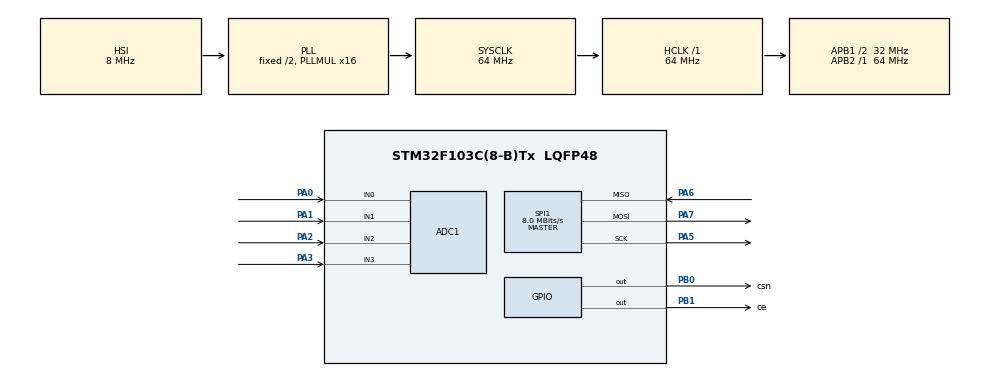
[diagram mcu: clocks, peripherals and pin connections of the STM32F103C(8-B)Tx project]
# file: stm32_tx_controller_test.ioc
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ADC1.Channel-0\#ChannelRegularConversion=ADC_CHANNEL_0
ADC1.Channel-1\#ChannelRegularConversion=ADC_CHANNEL_1
ADC1.Channel-2\#ChannelRegularConversion=ADC_CHANNEL_2
ADC1.Channel-3\#ChannelRegularConversion=ADC_CHANNEL_3
ADC1.ContinuousConvMode=ENABLE
ADC1.NbrOfConversion=4
ADC1.NbrOfConversionFlag=1
ADC1.Rank-0\#ChannelRegularConversion=1
ADC1.Rank-1\#ChannelRegularConversion=2
ADC1.Rank-2\#ChannelRegularConversion=3
ADC1.Rank-3\#ChannelRegularConversion=4
ADC1.SamplingTime-0\#ChannelRegularConversion=ADC_SAMPLETIME_55CYCLES_5
ADC1.SamplingTime-1\#ChannelRegularConversion=ADC_SAMPLETIME_55CYCLES_5
ADC1.SamplingTime-2\#ChannelRegularConversion=ADC_SAMPLETIME_55CYCLES_5
ADC1.SamplingTime-3\#ChannelRegularConversion=ADC_SAMPLETIME_55CYCLES_5
ADC1.master=1
Dma.ADC1.0.Direction=DMA_PERIPH_TO_MEMORY
Dma.ADC1.0.Instance=DMA1_Channel1
Dma.ADC1.0.MemDataAlignment=DMA_MDATAALIGN_HALFWORD
Dma.ADC1.0.MemInc=DMA_MINC_ENABLE
Dma.ADC1.0.Mode=DMA_CIRCULAR
Dma.ADC1.0.PeriphDataAlignment=DMA_PDATAALIGN_HALFWORD
Dma.ADC1.0.PeriphInc=DMA_PINC_DISABLE
Dma.ADC1.0.Priority=DMA_PRIORITY_LOW
Dma.Request0=ADC1
Mcu.Family=STM32F1
Mcu.Name=STM32F103C(8-B)Tx
Mcu.Package=LQFP48
NVIC.DMA1_Channel1_IRQn=true\:0\:0\:false\:false\:true\:false\:true\:true
NVIC.PriorityGroup=NVIC_PRIORITYGROUP_4
PA0-WKUP.Signal=ADCx_IN0
PA1.Signal=ADCx_IN1
PA13.Mode=Serial_Wire
PA13.Signal=SYS_JTMS-SWDIO
PA14.Mode=Serial_Wire
PA14.Signal=SYS_JTCK-SWCLK
PA2.Signal=ADCx_IN2
PA3.Signal=ADCx_IN3
PA5.Mode=Full_Duplex_Master
PA5.Signal=SPI1_SCK
PA6.Mode=Full_Duplex_Master
PA6.Signal=SPI1_MISO
PA7.Mode=Full_Duplex_Master
PA7.Signal=SPI1_MOSI
PB0.GPIO_Label=csn
PB0.GPIO_Speed=GPIO_SPEED_FREQ_HIGH
PB0.Signal=GPIO_Output
PB1.GPIO_Label=ce
PB1.GPIO_Speed=GPIO_SPEED_FREQ_HIGH
PB1.Signal=GPIO_Output
ProjectManager.HeapSize=0x200
ProjectManager.StackSize=0x400
ProjectManager.TargetToolchain=MDK-ARM V5.32
RCC.ADCPresc=RCC_ADCPCLK2_DIV6
RCC.AHBFreq_Value=64000000
RCC.APB1CLKDivider=RCC_HCLK_DIV2
RCC.APB1Freq_Value=32000000
RCC.APB1TimFreq_Value=64000000
RCC.APB2Freq_Value=64000000
RCC.APB2TimFreq_Value=64000000
RCC.HCLKFreq_Value=64000000
RCC.PLLMUL=RCC_PLL_MUL16
RCC.SYSCLKFreq_VALUE=64000000
RCC.SYSCLKSource=RCC_SYSCLKSOURCE_PLLCLK
RCC.USBFreq_Value=64000000
SH.ADCx_IN0.0=ADC1_IN0,IN0
SH.ADCx_IN1.0=ADC1_IN1,IN1
SH.ADCx_IN2.0=ADC1_IN2,IN2
SH.ADCx_IN3.0=ADC1_IN3,IN3
SPI1.BaudRatePrescaler=SPI_BAUDRATEPRESCALER_8
SPI1.CalculateBaudRate=8.0 MBits/s
SPI1.Direction=SPI_DIRECTION_2LINES
SPI1.Mode=SPI_MODE_MASTER
SPI1.VirtualType=VM_MASTER
TIM1.Channel-PWM\ Generation1\ No\ Output=TIM_CHANNEL_1
TIM1.Channel-PWM\ Generation2\ No\ Output=TIM_CHANNEL_2
TIM1.Channel-PWM\ Generation3\ No\ Output=TIM_CHANNEL_3
TIM1.Channel-PWM\ Generation4\ No\ Output=TIM_CHANNEL_4
TIM1.Prescaler=63
VP_TIM1_VS_ClockSourceINT.Mode=Internal
VP_TIM1_VS_no_output1.Mode=PWM Generation1 No Output
VP_TIM1_VS_no_output2.Mode=PWM Generation2 No Output
VP_TIM1_VS_no_output3.Mode=PWM Generation3 No Output
VP_TIM1_VS_no_output4.Mode=PWM Generation4 No Output
board=custom

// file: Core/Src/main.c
/* USER CODE BEGIN Header */
/**
  ******************************************************************************
  * @file           : main.c
  * @brief          : Main program body
  ******************************************************************************
  * @attention
  *
  * Copyright (c) 2025 STMicroelectronics.
  * All rights reserved.
  *
  * This software is licensed under terms that can be found in the LICENSE file
  * in the root directory of this software component.
  * If no LICENSE file comes with this software, it is provided AS-IS.
  *
  ******************************************************************************
  */
/* USER CODE END Header */
#include "main.h"

/* USER CODE BEGIN Includes */
#include "NRF24.h"
#include "NRF24_conf.h"
#include "NRF24_reg_addresses.h"
/* USER CODE END Includes */

ADC_HandleTypeDef hadc1;
DMA_HandleTypeDef hdma_adc1;

SPI_HandleTypeDef hspi1;

TIM_HandleTypeDef htim1;

void SystemClock_Config(void);
static void MX_GPIO_Init(void);
static void MX_DMA_Init(void);
static void MX_ADC1_Init(void);
static void MX_SPI1_Init(void);
static void MX_TIM1_Init(void);

/* USER CODE BEGIN 0 */
#define PLD_S 32

uint8_t tx_addr[5] = {0x45, 0x55, 0x67, 0x10, 0x21};

uint16_t data = 0;

uint8_t dataT[PLD_S];

struct Signal {
  uint16_t adc_buffer[4];
	uint16_t servo_aux_x;
	uint16_t servo_aux_y;
};
struct Signal adc;

void adc_dma_init(){
	HAL_ADC_Start_DMA(&hadc1,(uint32_t *)adc.adc_buffer,4);
}

void pwm_init(){
	HAL_TIM_PWM_Start(&htim1,TIM_CHANNEL_1);
	HAL_TIM_PWM_Start(&htim1,TIM_CHANNEL_2);
	HAL_TIM_PWM_Start(&htim1,TIM_CHANNEL_3);
	HAL_TIM_PWM_Start(&htim1,TIM_CHANNEL_4);
}

void esc_bldc_write(uint16_t pwm_val[4]){
	uint16_t pwm[4];
	for(int i=0;i<4;i++){
		pwm[i]=(pwm_val[i]*1000)/4096+1000;
	}
	__HAL_TIM_SetCompare(&htim1,TIM_CHANNEL_1,pwm[0]);
	__HAL_TIM_SetCompare(&htim1,TIM_CHANNEL_2,pwm[1]);
	__HAL_TIM_SetCompare(&htim1,TIM_CHANNEL_3,pwm[2]);
	__HAL_TIM_SetCompare(&htim1,TIM_CHANNEL_4,pwm[3]);
}

void nrf24_setup(){
	csn_high();

	HAL_Delay(5);

	ce_low();

	nrf24_init();

	nrf24_stop_listen();

	nrf24_auto_ack_all(auto_ack);
	nrf24_en_ack_pld(disable);
	nrf24_en_dyn_ack(disable);
	nrf24_dpl(disable);

	nrf24_set_crc(en_crc, _1byte);

	nrf24_tx_pwr(_0dbm);
	nrf24_data_rate(_2mbps);
	nrf24_set_channel(74);
	nrf24_set_addr_width(5);

	nrf24_set_rx_dpl(0, disable);
	nrf24_set_rx_dpl(1, disable);
	nrf24_set_rx_dpl(2, disable);
	nrf24_set_rx_dpl(3, disable);
	nrf24_set_rx_dpl(4, disable);
	nrf24_set_rx_dpl(5, disable);

	nrf24_pipe_pld_size(0, PLD_S);

	nrf24_auto_retr_delay(0);
	nrf24_auto_retr_limit(15);

	uint8_t addr[5] = { 0x53, 0x13, 0x01, 0x75, 0x82 };
	nrf24_open_tx_pipe(addr);
	nrf24_open_rx_pipe(0, addr);

	ce_high();
}
/* USER CODE END 0 */

int main(void)
{

  /* MCU Configuration--------------------------------------------------------*/

  /* Reset of all peripherals, Initializes the Flash interface and the Systick. */
  HAL_Init();

  /* Configure the system clock */
  SystemClock_Config();

  /* Initialize all configured peripherals */
  MX_GPIO_Init();
  MX_DMA_Init();
  MX_ADC1_Init();
  MX_SPI1_Init();
  MX_TIM1_Init();

  /* Infinite loop */
  while (1)
  {

  }
}

void SystemClock_Config(void)
{
  RCC_OscInitTypeDef RCC_OscInitStruct = {0};
  RCC_ClkInitTypeDef RCC_ClkInitStruct = {0};
  RCC_PeriphCLKInitTypeDef PeriphClkInit = {0};

  /** Initializes the RCC Oscillators according to the specified parameters
  * in the RCC_OscInitTypeDef structure.
  */
  RCC_OscInitStruct.OscillatorType = RCC_OSCILLATORTYPE_HSI;
  RCC_OscInitStruct.HSIState = RCC_HSI_ON;
  RCC_OscInitStruct.HSICalibrationValue = RCC_HSICALIBRATION_DEFAULT;
  RCC_OscInitStruct.PLL.PLLState = RCC_PLL_ON;
  RCC_OscInitStruct.PLL.PLLSource = RCC_PLLSOURCE_HSI_DIV2;
  RCC_OscInitStruct.PLL.PLLMUL = RCC_PLL_MUL16;
  if (HAL_RCC_OscConfig(&RCC_OscInitStruct) != HAL_OK)
  {
    Error_Handler();
  }

  /** Initializes the CPU, AHB and APB buses clocks
  */
  RCC_ClkInitStruct.ClockType = RCC_CLOCKTYPE_HCLK|RCC_CLOCKTYPE_SYSCLK
                              |RCC_CLOCKTYPE_PCLK1|RCC_CLOCKTYPE_PCLK2;
  RCC_ClkInitStruct.SYSCLKSource = RCC_SYSCLKSOURCE_PLLCLK;
  RCC_ClkInitStruct.AHBCLKDivider = RCC_SYSCLK_DIV1;
  RCC_ClkInitStruct.APB1CLKDivider = RCC_HCLK_DIV2;
  RCC_ClkInitStruct.APB2CLKDivider = RCC_HCLK_DIV1;

  if (HAL_RCC_ClockConfig(&RCC_ClkInitStruct, FLASH_LATENCY_2) != HAL_OK)
  {
    Error_Handler();
  }
  PeriphClkInit.PeriphClockSelection = RCC_PERIPHCLK_ADC;
  PeriphClkInit.AdcClockSelection = RCC_ADCPCLK2_DIV6;
  if (HAL_RCCEx_PeriphCLKConfig(&PeriphClkInit) != HAL_OK)
  {
    Error_Handler();
  }
}

static void MX_ADC1_Init(void)
{

  ADC_ChannelConfTypeDef sConfig = {0};

  /** Common config
  */
  hadc1.Instance = ADC1;
  hadc1.Init.ScanConvMode = ADC_SCAN_ENABLE;
  hadc1.Init.ContinuousConvMode = ENABLE;
  hadc1.Init.DiscontinuousConvMode = DISABLE;
  hadc1.Init.ExternalTrigConv = ADC_SOFTWARE_START;
  hadc1.Init.DataAlign = ADC_DATAALIGN_RIGHT;
  hadc1.Init.NbrOfConversion = 4;
  if (HAL_ADC_Init(&hadc1) != HAL_OK)
  {
    Error_Handler();
  }

  /** Configure Regular Channel
  */
  sConfig.Channel = ADC_CHANNEL_0;
  sConfig.Rank = ADC_REGULAR_RANK_1;
  sConfig.SamplingTime = ADC_SAMPLETIME_55CYCLES_5;
  if (HAL_ADC_ConfigChannel(&hadc1, &sConfig) != HAL_OK)
  {
    Error_Handler();
  }

  /** Configure Regular Channel
  */
  sConfig.Channel = ADC_CHANNEL_1;
  sConfig.Rank = ADC_REGULAR_RANK_2;
  if (HAL_ADC_ConfigChannel(&hadc1, &sConfig) != HAL_OK)
  {
    Error_Handler();
  }

  /** Configure Regular Channel
  */
  sConfig.Channel = ADC_CHANNEL_2;
  sConfig.Rank = ADC_REGULAR_RANK_3;
  if (HAL_ADC_ConfigChannel(&hadc1, &sConfig) != HAL_OK)
  {
    Error_Handler();
  }

  /** Configure Regular Channel
  */
  sConfig.Channel = ADC_CHANNEL_3;
  sConfig.Rank = ADC_REGULAR_RANK_4;
  if (HAL_ADC_ConfigChannel(&hadc1, &sConfig) != HAL_OK)
  {
    Error_Handler();
  }

}

static void MX_SPI1_Init(void)
{

  /* SPI1 parameter configuration*/
  hspi1.Instance = SPI1;
  hspi1.Init.Mode = SPI_MODE_MASTER;
  hspi1.Init.Direction = SPI_DIRECTION_2LINES;
  hspi1.Init.DataSize = SPI_DATASIZE_8BIT;
  hspi1.Init.CLKPolarity = SPI_POLARITY_LOW;
  hspi1.Init.CLKPhase = SPI_PHASE_1EDGE;
  hspi1.Init.NSS = SPI_NSS_SOFT;
  hspi1.Init.BaudRatePrescaler = SPI_BAUDRATEPRESCALER_8;
  hspi1.Init.FirstBit = SPI_FIRSTBIT_MSB;
  hspi1.Init.TIMode = SPI_TIMODE_DISABLE;
  hspi1.Init.CRCCalculation = SPI_CRCCALCULATION_DISABLE;
  hspi1.Init.CRCPolynomial = 10;
  if (HAL_SPI_Init(&hspi1) != HAL_OK)
  {
    Error_Handler();
  }

}

static void MX_TIM1_Init(void)
{

  TIM_ClockConfigTypeDef sClockSourceConfig = {0};
  TIM_MasterConfigTypeDef sMasterConfig = {0};
  TIM_OC_InitTypeDef sConfigOC = {0};
  TIM_BreakDeadTimeConfigTypeDef sBreakDeadTimeConfig = {0};

  htim1.Instance = TIM1;
  htim1.Init.Prescaler = 63;
  htim1.Init.CounterMode = TIM_COUNTERMODE_UP;
  htim1.Init.Period = 65535;
  htim1.Init.ClockDivision = TIM_CLOCKDIVISION_DIV1;
  htim1.Init.RepetitionCounter = 0;
  htim1.Init.AutoReloadPreload = TIM_AUTORELOAD_PRELOAD_DISABLE;
  if (HAL_TIM_Base_Init(&htim1) != HAL_OK)
  {
    Error_Handler();
  }
  sClockSourceConfig.ClockSource = TIM_CLOCKSOURCE_INTERNAL;
  if (HAL_TIM_ConfigClockSource(&htim1, &sClockSourceConfig) != HAL_OK)
  {
    Error_Handler();
  }
  if (HAL_TIM_PWM_Init(&htim1) != HAL_OK)
  {
    Error_Handler();
  }
  sMasterConfig.MasterOutputTrigger = TIM_TRGO_RESET;
  sMasterConfig.MasterSlaveMode = TIM_MASTERSLAVEMODE_DISABLE;
  if (HAL_TIMEx_MasterConfigSynchronization(&htim1, &sMasterConfig) != HAL_OK)
  {
    Error_Handler();
  }
  sConfigOC.OCMode = TIM_OCMODE_PWM1;
  sConfigOC.Pulse = 0;
  sConfigOC.OCPolarity = TIM_OCPOLARITY_HIGH;
  sConfigOC.OCNPolarity = TIM_OCNPOLARITY_HIGH;
  sConfigOC.OCFastMode = TIM_OCFAST_DISABLE;
  sConfigOC.OCIdleState = TIM_OCIDLESTATE_RESET;
  sConfigOC.OCNIdleState = TIM_OCNIDLESTATE_RESET;
  if (HAL_TIM_PWM_ConfigChannel(&htim1, &sConfigOC, TIM_CHANNEL_1) != HAL_OK)
  {
    Error_Handler();
  }
  if (HAL_TIM_PWM_ConfigChannel(&htim1, &sConfigOC, TIM_CHANNEL_2) != HAL_OK)
  {
    Error_Handler();
  }
  if (HAL_TIM_PWM_ConfigChannel(&htim1, &sConfigOC, TIM_CHANNEL_3) != HAL_OK)
  {
    Error_Handler();
  }
  if (HAL_TIM_PWM_ConfigChannel(&htim1, &sConfigOC, TIM_CHANNEL_4) != HAL_OK)
  {
    Error_Handler();
  }
  sBreakDeadTimeConfig.OffStateRunMode = TIM_OSSR_DISABLE;
  sBreakDeadTimeConfig.OffStateIDLEMode = TIM_OSSI_DISABLE;
  sBreakDeadTimeConfig.LockLevel = TIM_LOCKLEVEL_OFF;
  sBreakDeadTimeConfig.DeadTime = 0;
  sBreakDeadTimeConfig.BreakState = TIM_BREAK_DISABLE;
  sBreakDeadTimeConfig.BreakPolarity = TIM_BREAKPOLARITY_HIGH;
  sBreakDeadTimeConfig.AutomaticOutput = TIM_AUTOMATICOUTPUT_DISABLE;
  if (HAL_TIMEx_ConfigBreakDeadTime(&htim1, &sBreakDeadTimeConfig) != HAL_OK)
  {
    Error_Handler();
  }

}

static void MX_DMA_Init(void)
{

  /* DMA controller clock enable */
  __HAL_RCC_DMA1_CLK_ENABLE();

  /* DMA interrupt init */
  /* DMA1_Channel1_IRQn interrupt configuration */
  HAL_NVIC_SetPriority(DMA1_Channel1_IRQn, 0, 0);
  HAL_NVIC_EnableIRQ(DMA1_Channel1_IRQn);

}

static void MX_GPIO_Init(void)
{
  GPIO_InitTypeDef GPIO_InitStruct = {0};

  /* GPIO Ports Clock Enable */
  __HAL_RCC_GPIOA_CLK_ENABLE();
  __HAL_RCC_GPIOB_CLK_ENABLE();

  /*Configure GPIO pin Output Level */
  HAL_GPIO_WritePin(GPIOB, csn_Pin|ce_Pin, GPIO_PIN_RESET);

  /*Configure GPIO pins : csn_Pin ce_Pin */
  GPIO_InitStruct.Pin = csn_Pin|ce_Pin;
  GPIO_InitStruct.Mode = GPIO_MODE_OUTPUT_PP;
  GPIO_InitStruct.Pull = GPIO_NOPULL;
  GPIO_InitStruct.Speed = GPIO_SPEED_FREQ_HIGH;
  HAL_GPIO_Init(GPIOB, &GPIO_InitStruct);

}

void Error_Handler(void)
{
  __disable_irq();
  while (1)
  {
  }
}
